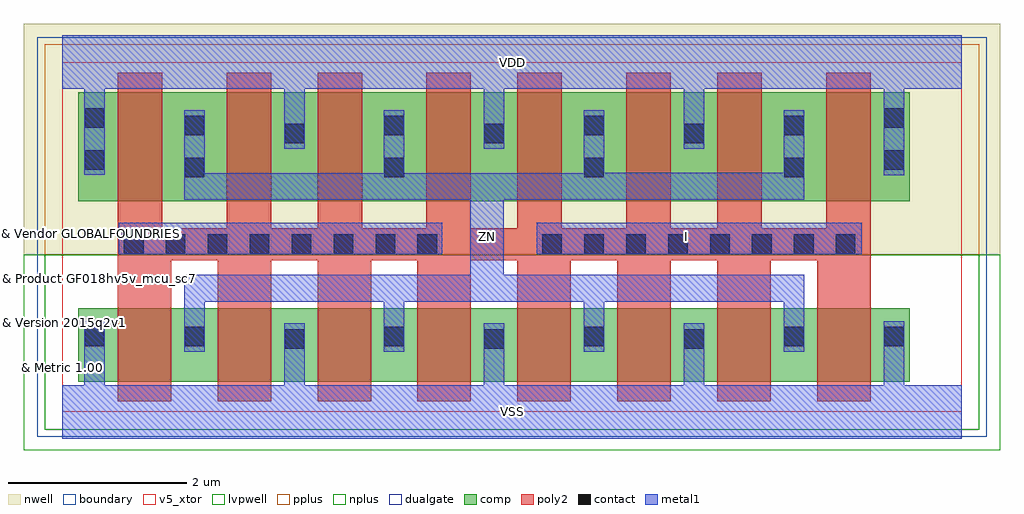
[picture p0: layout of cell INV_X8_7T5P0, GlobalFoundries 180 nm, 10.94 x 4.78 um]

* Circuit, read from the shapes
.subckt INV_X8_7T5P0 I VDD VSS ZN
XM1 ZN I VSS VSUBS nfet_05v0 w=0.82u l=0.6u m=8
XM2 ZN I VDD n1 pfet_05v0 w=1.22u l=0.5u m=8
.ends

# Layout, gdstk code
import gdstk
lib = gdstk.Library(unit=1e-6, precision=1e-09)
def R(c, l, rs):  # rectangles x0, y0, x1, y1
    for r in rs: c.add(gdstk.rectangle(r[:2], r[2:], *l))
def A(c, l, x, y, w, h, nx, ny, dx, dy):  # array of equal rectangles
    R(c, l, [(x+i*dx, y+j*dy, x+i*dx+w, y+j*dy+h) for i in range(nx) for j in range(ny)])
def P(c, l, *ps):  # polygons
    for p in ps: c.add(gdstk.Polygon(p, *l))
boundary = (0, 0)
nwell = (21, 0)
comp = (22, 0)
poly2 = (30, 0)
pplus = (31, 0)
nplus = (32, 0)
contact = (33, 0)
metal1 = (34, 0)
dualgate = (55, 0)
v5_xtor = (112, 1)
lvpwell = (204, 0)

inv_x8_7t5p0 = lib.new_cell('INV_X8_7T5P0')
R(inv_x8_7t5p0, boundary, [(0,0,10.08,3.92)])
R(inv_x8_7t5p0, nwell, [(-0.43,1.76,10.51,4.35)])
R(inv_x8_7t5p0, comp, [(0.18,0.34,9.5,1.16), (0.18,2.36,9.5,3.58)])
P(inv_x8_7t5p0, poly2, [(0.62,0.12),(1.22,0.12),(1.22,1.7),(1.74,1.7),(1.74,0.12),(2.34,0.12),(2.34,1.7),(2.86,1.7),(2.86,0.12),(3.46,0.12),(3.46,1.7),(3.98,1.7),(3.98,0.12),(4.58,0.12),(4.58,1.7),(5.1,1.7),(5.1,0.12),(5.7,0.12),(5.7,1.7),(6.22,1.7),(6.22,0.12),(6.82,0.12),(6.82,1.7),(7.34,1.7),(7.34,0.12),(7.94,0.12),(7.94,1.7),(8.46,1.7),(8.46,0.12),(9.06,0.12),(9.06,3.8),(8.56,3.8),(8.56,2.06),(7.84,2.06),(7.84,3.8),(7.34,3.8),(7.34,2.06),(6.82,2.06),(6.82,3.8),(6.32,3.8),(6.32,2.06),(5.6,2.06),(5.6,3.8),(5.1,3.8),(5.1,2.06),(4.58,2.06),(4.58,3.8),(4.08,3.8),(4.08,2.06),(3.36,2.06),(3.36,3.8),(2.86,3.8),(2.86,2.06),(2.34,2.06),(2.34,3.8),(1.84,3.8),(1.84,2.06),(1.12,2.06),(1.12,3.8),(0.62,3.8)])
R(inv_x8_7t5p0, pplus, [(-0.2,1.76,10.28,4.12)])
R(inv_x8_7t5p0, nplus, [(-0.2,-0.2,10.28,1.76)])
A(inv_x8_7t5p0, contact, 2.49, 0.705, 0.22, 0.22, 3, 2, 2.24, 2.305)
A(inv_x8_7t5p0, contact, 1.37, 0.735, 0.22, 0.22, 4, 2, 2.24, 1.895)
A(inv_x8_7t5p0, contact, 0.69, 1.77, 0.22, 0.22, 8, 1, 0.47, 0)
A(inv_x8_7t5p0, contact, 5.38, 1.77, 0.22, 0.22, 8, 1, 0.47, 0)
A(inv_x8_7t5p0, contact, 1.37, 3.1, 0.22, 0.22, 4, 1, 2.24, 0)
R(inv_x8_7t5p0, contact, [(0.25,0.735,0.47,0.955), (9.21,0.735,9.43,0.955), (0.25,2.715,0.47,2.935), (9.21,2.715,9.43,2.935), (0.25,3.185,0.47,3.405), (9.21,3.185,9.43,3.405)])
R(inv_x8_7t5p0, metal1, [(0.63,1.765,4.26,2.12), (5.32,1.765,8.96,2.12)])
P(inv_x8_7t5p0, metal1, [(4.95,2.375),(8.315,2.375),(8.315,3.38),(8.085,3.38),(8.085,2.68),(6.075,2.68),(6.075,3.38),(5.845,3.38),(5.845,2.675),(3.835,2.675),(3.835,3.38),(3.605,3.38),(3.605,2.675),(1.595,2.675),(1.595,3.38),(1.365,3.38),(1.365,2.375),(4.57,2.375),(4.57,1.535),(1.365,1.535),(1.365,0.675),(1.595,0.675),(1.595,1.235),(3.605,1.235),(3.605,0.675),(3.835,0.675),(3.835,1.235),(5.845,1.235),(5.845,0.675),(6.075,0.675),(6.075,1.235),(8.085,1.235),(8.085,0.675),(8.315,0.675),(8.315,1.535),(4.95,1.535)],
  [(0,-0.3),(10.08,-0.3),(10.08,0.3),(9.435,0.3),(9.435,1.015),(9.205,1.015),(9.205,0.3),(7.195,0.3),(7.195,0.995),(6.965,0.995),(6.965,0.3),(4.955,0.3),(4.955,0.995),(4.725,0.995),(4.725,0.3),(2.715,0.3),(2.715,0.995),(2.485,0.995),(2.485,0.3),(0.475,0.3),(0.475,1.015),(0.245,1.015),(0.245,0.3),(0,0.3)],
  [(0,3.62),(0.245,3.62),(0.245,2.655),(0.475,2.655),(0.475,3.62),(2.485,3.62),(2.485,2.95),(2.715,2.95),(2.715,3.62),(4.725,3.62),(4.725,2.95),(4.955,2.95),(4.955,3.62),(6.965,3.62),(6.965,2.95),(7.195,2.95),(7.195,3.62),(9.205,3.62),(9.205,2.65),(9.435,2.65),(9.435,3.62),(10.08,3.62),(10.08,4.22),(0,4.22)])
R(inv_x8_7t5p0, dualgate, [(-0.28,-0.28,10.36,4.2)])
R(inv_x8_7t5p0, v5_xtor, [(0,0,10.08,3.92)])
R(inv_x8_7t5p0, lvpwell, [(-0.43,-0.43,10.51,1.76)])
inv_x8_7t5p0.add(gdstk.Label('VSS', (5.04,0), layer=34, texttype=10))
inv_x8_7t5p0.add(gdstk.Label('ZN', (4.76,1.96), layer=34, texttype=10))
inv_x8_7t5p0.add(gdstk.Label('I', (7,1.96), layer=34, texttype=10))
inv_x8_7t5p0.add(gdstk.Label('VDD', (5.04,3.92), layer=34, texttype=10))
inv_x8_7t5p0.add(gdstk.Label('& Vendor GLOBALFOUNDRIES', (0,2), layer=63, texttype=63))
inv_x8_7t5p0.add(gdstk.Label('& Product GF018hv5v_mcu_sc7', (0,1.5), layer=63, texttype=63))
inv_x8_7t5p0.add(gdstk.Label('& Version 2015q2v1', (0,1), layer=63, texttype=63))
inv_x8_7t5p0.add(gdstk.Label('& Metric 1.00', (0,0.5), layer=63, texttype=63))

lib.write_gds('INV_X8_7T5P0.gds')
